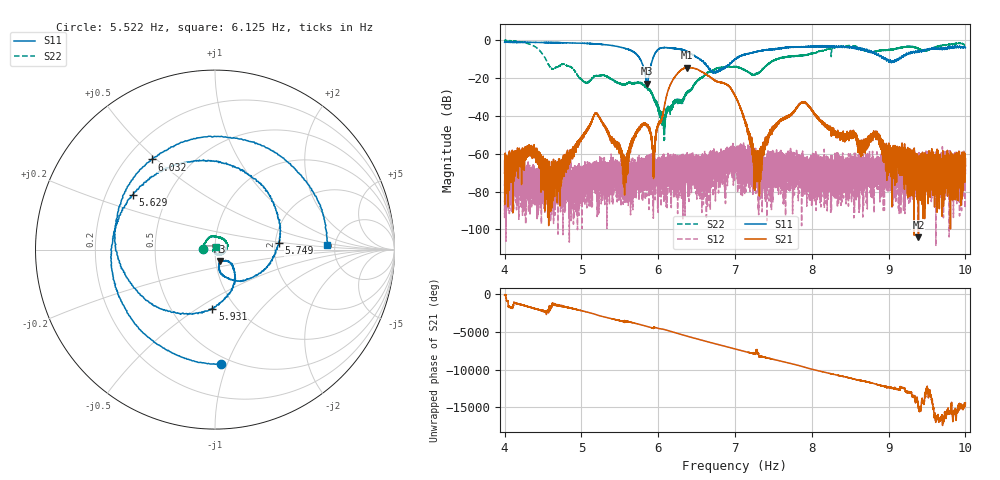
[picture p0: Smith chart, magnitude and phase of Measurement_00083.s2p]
!Created with skrf (http://scikit-rf.org).
# Hz S RI R 50.0
!freq ReS11 ImS11 ReS21 ImS21 ReS12 ImS12 ReS22 ImS22
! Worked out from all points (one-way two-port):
!   14001 points, 4 Hz to 10 Hz, reference 50 ohm
!   highest |S21| = -14.56 dB at 6.369 Hz (marker M1); lowest = -104.1 dB at 9.389 Hz (marker M2)
!   lowest |S11| = -22.9 dB at 5.852 Hz (marker M3), VSWR 1.15, Z = 52.5 - j6.92 ohm
!   |S11| at or under -10 dB: 5.765 Hz to 5.928 Hz (162.6 mHz wide, 2.78 % of centre); 6.537 Hz to 7 Hz (462.7 mHz wide, 6.84 % of centre); 8.965 Hz to 9.113 Hz (148 mHz wide, 1.64 % of centre) (the widest 3 of 15)
!   |S22| runs from -53.0 to -0.2 dB; largest |S21 - S12| = 0.19
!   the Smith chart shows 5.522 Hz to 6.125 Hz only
!   S11 on the Smith chart (normalised r, x): 5.522 Hz: 0.44, -0.95; 5.629 Hz: 0.31, +0.27; 5.749 Hz: 2.10, +0.17; 5.931 Hz: 0.78, -0.58; 6.032 Hz: 0.30, +0.48; 6.125 Hz: 4.29, +0.39
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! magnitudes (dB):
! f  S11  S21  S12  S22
! 4 Hz  -1.1  -70.3  -74.2  -0.3
! 4.359 Hz  -1.2  -57.8  -71.6  -2.7
! 4.603 Hz  -1.3  -75.0  -76.6  -14.6
! 5 Hz  -1.6  -52.0  -73.9  -20.8
! 5.198 Hz  -2.0  -38.8  -66.6  -18.8
! 5.522 Hz  -3.9  -60.5  -75.6  -23.4
! 5.629 Hz  -5.2  -56.4  -77.8  -22.3
! 5.749 Hz  -8.9  -47.8  -62.4  -22.5
! 5.852 Hz  -22.9  -45.2  -64.2  -25.1
! 5.931 Hz  -9.6  -59.9  -62.9  -29.7
! 6 Hz  -4.9  -44.7  -66.4  -34.6
! 6.032 Hz  -4.2  -43.2  -66.1  -39.7
! 6.125 Hz  -4.1  -27.1  -72.5  -36.4
! 6.369 Hz  -5.9  -14.6  -67.2  -27.9
! 6.721 Hz  -17.2  -20.8  -67.2  -15.8
! 7 Hz  -10.1  -29.4  -64.3  -14.1
! 7.288 Hz  -6.0  -74.8  -63.0  -17.5
! 7.57 Hz  -4.5  -44.2  -65.8  -9.6
! 8 Hz  -3.5  -37.0  -72.3  -6.9
! 9 Hz  -11.1  -60.9  -77.6  -5.0
! 9.389 Hz  -6.0  -104.1  -70.3  -4.3
! 10 Hz  -4.1  -66.2  -66.0  -3.1
